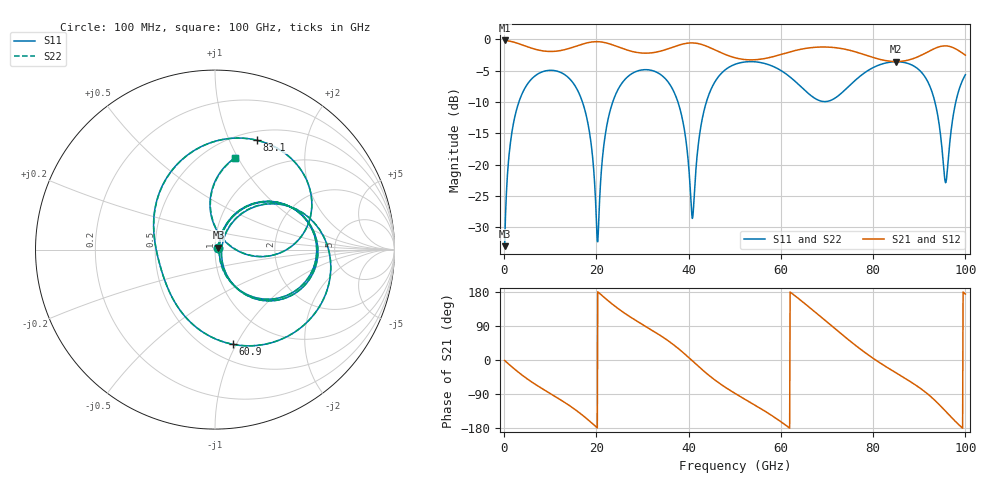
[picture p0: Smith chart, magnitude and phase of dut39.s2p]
! Touchstone file exported from HFSS 2026.1.0
!  File:  C:/ffzhzh/LocalFiles/Ansys_Project_Files/temp_train_TSV_RDL_39_1783618676_26216.aedt
!  Generated:  01:46:17 AM Jul 10, 2026
!  Design:  TSV_RDL
!  Project:  temp_train_TSV_RDL_39_1783618676_26216
! Variables:
!  h_bsmrdl = 2.19um
!  h_ox = 20um
!  h_rdl = 5um
!  h_sub = 82.34um
!  h_tmrdl = 4.79um
!  h_tsv = 82.34um
!  h_via = 3um
!  l_bsmrdl = 430.98um
!  l_sub = 2866.13um
!  l_tmrdl = 266.26um
!  m_sub = 200um
!  pitch = 50.28um
!  r_tsv = 8.93um
!  s_tmrdl = 10um
!  w_bsmrdl = 14.79um
!  w_sub = 500um
!  w_tmrdl = 21.26um
!  x_tsv_center1 = 276.89um
!  x_tsv_center2 = 722.66um
!  x_tsv_center3 = 1010.18um
!  x_tsv_center4 = 1455.95um
!  x_tsv_center5 = 1743.47um
!  x_tsv_center6 = 2189.24um
# GHz S MA R 50.000000
! Terminal data exported
! Port[1] = TM_RDL1_1_T1
! Port[2] = TM_RDL5_1_T1
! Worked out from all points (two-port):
!   1000 points, 100 MHz to 100 GHz, reference 50 ohm
!   highest |S21| = -0.17 dB at 100 MHz (marker M1); lowest = -3.5 dB at 85 GHz (marker M2)
!   |S21| within 3 dB of the highest: start of sweep to 51.64 GHz; 55.51 GHz to 81.36 GHz (25.85 GHz wide, 37.8 % of centre) (the widest 2 of 3)
!   lowest |S11| = -33.0 dB at 100 MHz (marker M3), VSWR 1.05, Z = 51.9 + j1.18 ohm
!   |S11| at or under -10 dB: 16.98 GHz to 23.54 GHz (6.562 GHz wide, 32.4 % of centre); 37.68 GHz to 43.84 GHz (6.166 GHz wide, 15.1 % of centre); 93.4 GHz to 97.91 GHz (4.518 GHz wide, 4.72 % of centre) (the widest 3 of 4)
!   |S22| runs from -33.0 to -3.5 dB; largest |S21 - S12| = 1.3e-13
!   S11 on the Smith chart (normalised r, x): 100 MHz: 1.04, +0.02; 60.9 GHz: 0.65, -0.97; 83.1 GHz: 0.60, +1.27; 100 GHz: 0.69, +0.97
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0.1  0.02236 30.6  0.9809 -1.1  0.9809 -1.1  0.02236 30.6
! Gamma 0 0 0 0
! Port Impedance 50 0 50 0
1.7  0.1833 64.3  0.9596 -18.3  0.9596 -18.3  0.1833 64.3
4.7  0.4203 39.5  0.8824 -47.2  0.8824 -47.2  0.4203 39.5
10.6  0.5656 -4.3  0.802 -92.9  0.802 -92.9  0.5656 -4.3
16.8  0.3301 -52.1  0.9127 -143.9  0.9127 -143.9  0.3301 -52.2
20.3  0.02425 10.3  0.959 179.9  0.959 179.9  0.02301 10.8
24.1  0.3584 46.9  0.8886 141.2  0.8886 141.2  0.3583 47.1
33.4  0.5392 -21.4  0.7979 68.4  0.7979 68.4  0.5391 -21.3
38.2  0.2719 -58.6  0.9074 25.8  0.9074 25.8  0.2717 -58.7
40.8  0.03722 -7.1  0.9375 -2.1  0.9375 -2.1  0.03571 -7.2
43.9  0.3214 47.5  0.8822 -35.5  0.8822 -35.5  0.3212 47.8
50.1  0.6335 -0.4  0.713 -88.5  0.713 -88.5  0.6334 -0.2
60.9  0.5372 -79.3  0.7748 -170.7  0.7748 -170.7  0.5371 -79.2
66.7  0.352 -134.4  0.8606 133.7  0.8606 133.7  0.3517 -134.6
71.2  0.3311 177.3  0.8634 88.1  0.8634 88.1  0.331 176.9
75.9  0.4637 128.9  0.8005 41.3  0.8005 41.3  0.4637 128.6
83.1  0.6526 69.0  0.6738 -20.1  0.6738 -20.1  0.6526 68.8
83.4  0.6556 66.8  0.6714 -22.3  0.6714 -22.3  0.6556 66.7
85  0.6634 55.6  0.6655 -34.2  0.6655 -34.2  0.6634 55.5
92.2  0.4311 2.9  0.8075 -93.5  0.8075 -93.5  0.4312 2.9
95.7  0.07179 41.8  0.888 -135.1  0.888 -135.1  0.07342 41.9
100  0.5227 77.7  0.7484 174.1  0.7484 174.1  0.523 77.5
